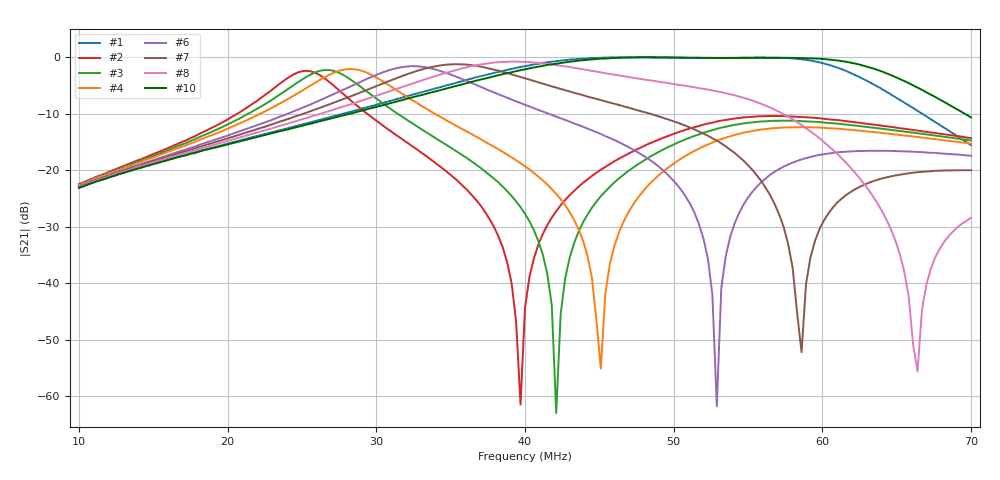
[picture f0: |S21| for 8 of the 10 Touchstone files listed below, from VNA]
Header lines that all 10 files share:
#  HZ  S  RI  R  50.00
! Rohde & Schwarz ZVT8 8Ports - Version 4.11 - 1300.0000k08 SN: 100242
! Measurements: S11 S21 S12 S22
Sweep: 10 MHz to 70 MHz
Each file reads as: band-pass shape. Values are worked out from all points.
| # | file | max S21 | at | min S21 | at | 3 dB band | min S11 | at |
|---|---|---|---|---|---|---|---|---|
| 1 | CA_48p00_CG48p00.s2p | -0.06 dB | 46.9 MHz | -23.1 dB | 10 MHz | 37.6 MHz-61.9 MHz | -22.7 dB | 46.9 MHz |
| 2 | CA_50p00_CG10p00.s2p | -2.44 dB | 25.3 MHz | -61.5 dB | 39.7 MHz | 23.2 MHz-27.1 MHz | -4.0 dB | 25.3 MHz |
| 3 | CA_50p00_CG15p00.s2p | -2.30 dB | 26.8 MHz | -63.0 dB | 42.1 MHz | 24.4 MHz-28.9 MHz | -4.2 dB | 26.8 MHz |
| 4 | CA_50p00_CG20p00.s2p | -2.13 dB | 28.3 MHz | -55.1 dB | 45.1 MHz | 25.6 MHz-30.7 MHz | -4.4 dB | 28.3 MHz |
| 5 | CA_50p00_CG25p00.s2p | -1.91 dB | 30.1 MHz | -49.9 dB | 48.4 MHz | 27.1 MHz-33.1 MHz | -4.8 dB | 30.1 MHz |
| 6 | CA_50p00_CG30p00.s2p | -1.62 dB | 32.5 MHz | -61.7 dB | 52.9 MHz | 28.9 MHz-36.4 MHz | -5.3 dB | 32.5 MHz |
| 7 | CA_50p00_CG35p00.s2p | -1.28 dB | 35.5 MHz | -52.2 dB | 58.6 MHz | 31 MHz-40.6 MHz | -6.2 dB | 35.5 MHz |
| 8 | CA_50p00_CG40p00.s2p | -0.82 dB | 39.4 MHz | -55.6 dB | 66.4 MHz | 33.7 MHz-47.5 MHz | -8.0 dB | 39.4 MHz |
| 9 | CA_50p00_CG45p00.s2p | -0.29 dB | 44.5 MHz | -23.1 dB | 10 MHz | 36.7 MHz-59.8 MHz | -12.8 dB | 44.5 MHz |
| 10 | CA_50p00_CG48p00.s2p | -0.05 dB | 48.7 MHz | -23.1 dB | 10 MHz | 38.5 MHz-64.3 MHz | -24.2 dB | 48.4 MHz |
